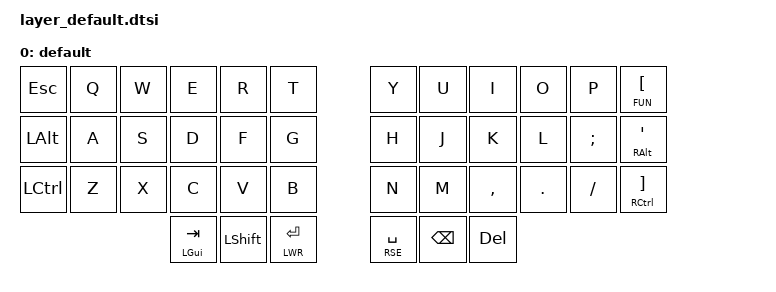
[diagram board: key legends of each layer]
/**
 * Default Layer - QWERTY
 */

/ {
    keymap {
        compatible = "zmk,keymap";

        default_layer {
            display-name = "default";
            bindings = <
// ╭───────────────┬───────────────┬───────────────┬───────────────┬───────────────┬───────────────╮   ╭───────────────┬───────────────┬───────────────┬───────────────┬───────────────┬───────────────╮
// │0              │1              │2              │3              │4              │5              │   │6              │7              │8              │9              │10             │11             │
    &kp ESC         &kp Q           &kp W           &kp E           &kp R           &kp T               &kp Y           &kp U           &kp I           &kp O           &kp P           &lt FUN LBKT
// ├───────────────├───────────────┼───────────────┼───────────────┼───────────────┼───────────────┤   ├───────────────├───────────────┼───────────────┼───────────────┼───────────────┼───────────────┤
// │12             │13             │14             │15             │16             │17             │   │18             │19             │20             │21             │22             │23             │
    &kp LALT        &kp A           &kp S           &kp D           &kp F           &kp G               &kp H           &kp J           &kp K           &kp L           &kp SEMI        &mt RALT SQT
// ├───────────────├───────────────┼───────────────┼───────────────┼───────────────┼───────────────┤   ├───────────────├───────────────┼───────────────┼───────────────┼───────────────┼───────────────┤
// │24             │25             │26             │27             │28             │29             │   │30             │31             │32             │33             │34             │35             │
    &kp LCTRL       &kp Z           &kp X           &kp C           &kp V           &kp B               &kp N           &kp M           &kp COMMA       &kp DOT         &kp FSLH        &mt RCTRL RBKT
// ╰───────────────┴───────────────┴───────────────┼───────────────┼───────────────┼───────────────┤   ├───────────────├───────────────┼───────────────┼───────────────┴───────────────┴───────────────╯
//                                                 │36             │37             │38             │   │39             │40             │41             │
                                                    &mt LGUI TAB    &kp LSHFT       &lt LWR RET         &lt RSE SPACE   &kp BSPC        &kp DEL
//                                                 ╰───────────────┴───────────────┴───────────────╯   ╰───────────────┴───────────────┴───────────────╯
            >;
        };
    };
};
